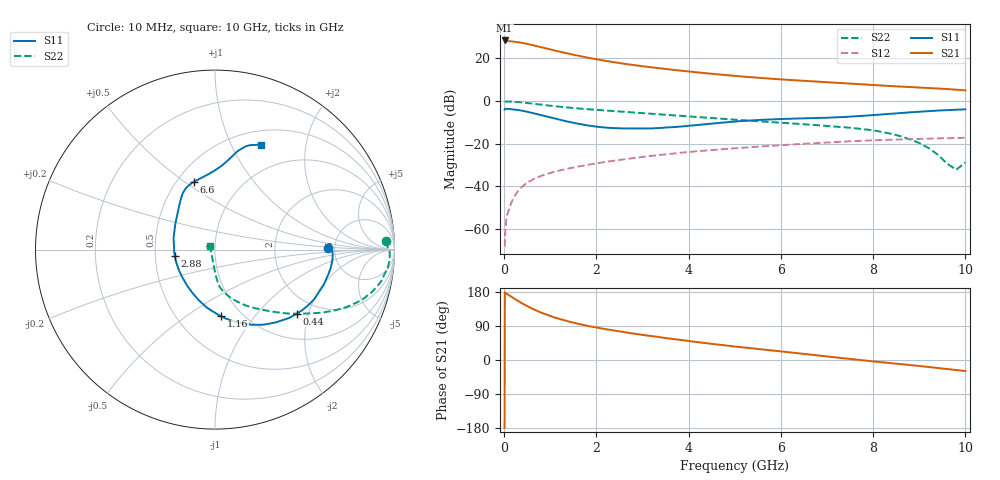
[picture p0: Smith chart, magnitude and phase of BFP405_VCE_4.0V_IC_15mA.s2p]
! Infineon Technologies  Discrete & RF Semiconductors
! BFP405
! VCE =  4.0 V,  IC =  15 mA
! Common Emitter S-Parameters:  Jan 2016
# GHz  S  MA  R  50
!  f  S11  S21  S12  S22
! GHz  MAG  ANG  MAG  ANG  MAG  ANG  MAG  ANG
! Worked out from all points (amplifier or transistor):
!   233 points, 10 MHz to 10 GHz, reference 50 ohm
!   highest |S21| = 28.4 dB at 10 MHz (marker M1)
!   |S21| within 3 dB of that: start of sweep to 774.5 MHz
!   unconditionally stable (mu >= 1): start of sweep to 24.26 MHz; 2.268 GHz to end of sweep
!   at 200 MHz: K = 0.25, MSG = 36.7 dB, |S12| = -45.5 dB
!   at 1.74 GHz: K = 0.87, MSG = 25.4 dB, |S12| = -30.1 dB
!   at 10 GHz: K = 1.34, MAG = 7.6 dB, |S12| = -17.2 dB
!   S11 on the Smith chart (normalised r, x): 10 MHz: 4.39, +0.14; 440 MHz: 1.57, -1.68; 1.16 GHz: 0.81, -0.70; 2.88 GHz: 0.63, -0.05; 6.6 GHz: 0.61, +0.54; 10 GHz: 0.66, +1.31
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0.01  0.629 0.9  26.18 -178.9  0.0004 -19.7  0.9537 2.8
0.02  0.6554 -1.0  25.78 176.7  0.0007 86.9  0.9631 0.6
0.05  0.6573 -4.4  25.34 175.3  0.0018 74.2  0.9737 -0.8
0.1  0.6534 -8.8  25.26 171.1  0.0028 77.1  0.9754 -3.0
0.2  0.6371 -17.7  24.66 163.5  0.0053 79.2  0.9653 -6.8
0.32  0.6124 -28.3  23.68 154.6  0.0082 76.4  0.9437 -10.6
0.44  0.5786 -38.1  22.44 146.0  0.011 73.6  0.9148 -14.1
0.6  0.5295 -49.9  20.57 135.9  0.0141 70.0  0.8738 -18.1
0.7  0.4992 -56.9  19.4 130.3  0.0159 68.4  0.8477 -20.1
0.9  0.4403 -69.5  17.19 120.3  0.0193 65.8  0.799 -23.6
1.16  0.3738 -84.5  14.7 109.7  0.023 63.5  0.7446 -27.1
1.4  0.3261 -98.0  12.8 101.5  0.0264 62.2  0.702 -29.8
1.68  0.2844 -112.3  11.06 93.5  0.0302 61.0  0.6606 -32.3
2.2  0.2391 -139.2  8.709 81.3  0.0375 58.9  0.5993 -36.5
2.88  0.2266 -170.8  6.783 68.4  0.0473 55.4  0.5333 -41.8
3.4  0.235 168.0  5.788 59.7  0.0551 52.2  0.4857 -45.8
5.1  0.3376 124.5  3.794 34.3  0.0797 39.8  0.3587 -60.7
6.6  0.3957 107.3  2.924 14.8  0.1012 28.3  0.2812 -72.1
6.8  0.4007 104.0  2.832 12.1  0.1041 26.6  0.271 -73.5
8.4  0.5055 81.5  2.235 -8.5  0.1245 12.0  0.17 -86.1
9.8  0.6256 68.9  1.84 -26.4  0.1363 0.2  0.0246 -171.1
10  0.6389 66.3  1.776 -29.1  0.1378 -1.3  0.0367 144.4
